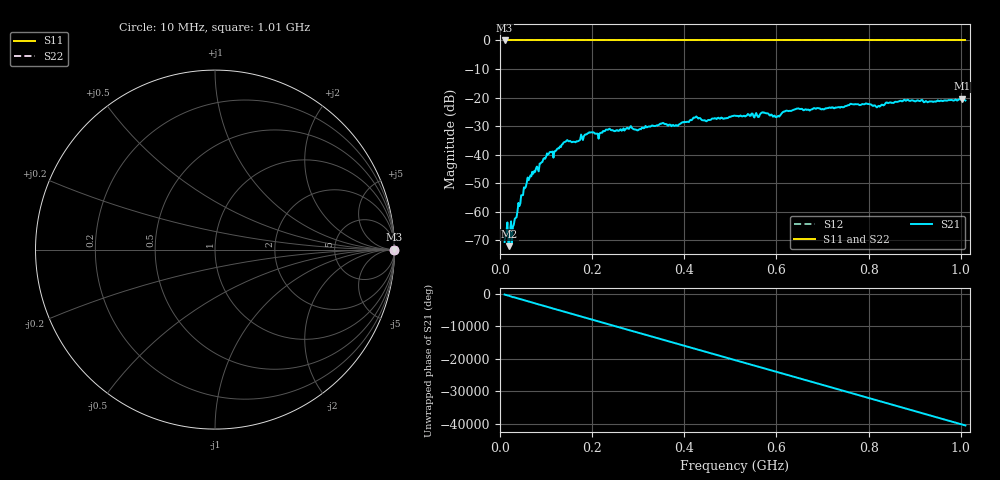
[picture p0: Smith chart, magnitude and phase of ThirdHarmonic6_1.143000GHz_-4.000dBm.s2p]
! 8/16/2025 11:15:07 AM
! C:\ANRITSUVNA\TEMP\TEMP.S2P
! CHANNEL.1
! TR.MEASUREMENT
! RAW.DATA
! RF.CORRECTION.OFF
! AVERAGING.OFF
! IF.BANDWIDTH: 5KHZ
! SWEEPTYPE:  FREQ.SWEEP(Linear)
! Reference Plane Port Info
! PORT:  PORT1  PORT2
! DISTANCE:  0  m  0  m
! TIME:  0  s  0  s
! PHASE.OFFSET:  0  deg.  0  deg.
! LOSS:  0  dB  0  dB
! REF.LOSS:  0  dB  0  dB
! REF.FREQ:  0  Hz  0  Hz
! Power Info
! POWER:  -20  dBm  -20  dBm
! EFF.POWER:  -20  dBm  -20  dBm
! SOURCE.ATTEN:  0  dB  0  dB
! TEST.ATTEN:  0  dB  0  dB
# GHZ S RI R 50.0
! FREQ.GHZ  S11RE  S11IM  S21RE  S21IM  S12RE  S12IM  S22RE  S22IM
!; PortSelection: Port_12
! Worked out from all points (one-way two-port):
!   501 points, 10 MHz to 1.01 GHz, reference 50 ohm
!   highest |S21| = -20.43 dB at 1.002 GHz (marker M1); lowest = -72.1 dB at 20 MHz (marker M2)
!   lowest |S11| = 0.0 dB at 10 MHz (marker M3)
!   |S11| at or under -10 dB: nowhere
!   |S22| runs from 0.0 to 0.0 dB; largest |S21 - S12| = 1.1
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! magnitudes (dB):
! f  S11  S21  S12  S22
! 10 MHz  0.0  -70.6  0.0  0.0
! 20 MHz  0.0  -72.1  0.0  0.0
! 22 MHz  0.0  -67.0  0.0  0.0
! 50 MHz  0.0  -54.2  0.0  0.0
! 70 MHz  0.0  -46.0  0.0  0.0
! 106 MHz  0.0  -39.7  0.0  0.0
! 120 MHz  0.0  -38.8  0.0  0.0
! 142 MHz  0.0  -35.5  0.0  0.0
! 178 MHz  0.0  -33.9  0.0  0.0
! 234 MHz  0.0  -31.3  0.0  0.0
! 344 MHz  0.0  -29.7  0.0  0.0
! 382 MHz  0.0  -29.7  0.0  0.0
! 424 MHz  0.0  -26.9  0.0  0.0
! 446 MHz  0.0  -28.1  0.0  0.0
! 510 MHz  0.0  -26.4  0.0  0.0
! 572 MHz  0.0  -25.3  0.0  0.0
! 602 MHz  0.0  -26.7  0.0  0.0
! 620 MHz  0.0  -24.7  0.0  0.0
! 678 MHz  0.0  -24.1  0.0  0.0
! 844 MHz  0.0  -21.8  0.0  0.0
! 1.002 GHz  0.0  -20.4  0.0  0.0
! 1.01 GHz  0.0  -21.0  0.0  0.0
